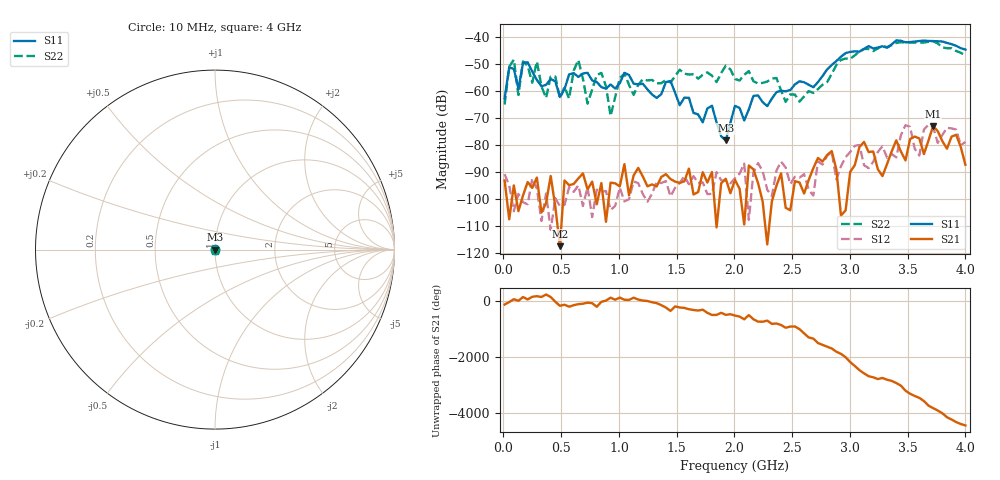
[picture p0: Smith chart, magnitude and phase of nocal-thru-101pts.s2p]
! PocketVna 1.81  pocketvna.com
! Live measurements ((Reflection-S11, Transmission-S21, Transmission-S12, Reflection-S22) Linear 10000000-4000000000/101 non-calibrated)
# GHz S MA R 50
! GHz  |S11|  <S11  |S21|  <S21  |S12|  <S12  |S22|  <S22
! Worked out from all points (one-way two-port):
!   101 points, 10 MHz to 4 GHz, reference 50 ohm
!   highest |S21| = -73.11 dB at 3.721 GHz (marker M1); lowest = -117.6 dB at 488.8 MHz (marker M2)
!   lowest |S11| = -78.5 dB at 1.925 GHz (marker M3), VSWR 1.00, Z = 50 + j0.0113 ohm
!   |S11| at or under -10 dB: start of sweep to end of sweep
!   |S22| runs from -69.4 to -41.8 dB; largest |S21 - S12| = 0.00026
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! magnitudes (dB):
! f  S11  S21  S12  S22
! 10 MHz  -62.9  -93.3  -91.0  -65.1
! 89.8 MHz  -52.0  -95.1  -104.7  -48.6
! 129.7 MHz  -59.4  -104.7  -98.3  -61.6
! 169.6 MHz  -49.7  -98.8  -101.4  -49.2
! 289.3 MHz  -56.1  -92.2  -96.3  -49.2
! 369.1 MHz  -57.9  -101.7  -98.1  -62.7
! 448.9 MHz  -56.5  -102.9  -99.9  -54.8
! 488.8 MHz  -62.4  -117.6  -102.8  -62.7
! 648.4 MHz  -54.9  -92.5  -95.1  -48.7
! 688.3 MHz  -53.7  -90.7  -102.7  -55.7
! 728.2 MHz  -53.4  -96.6  -95.8  -64.8
! 847.9 MHz  -58.7  -94.3  -97.5  -53.4
! 927.7 MHz  -57.8  -94.1  -104.2  -69.4
! 1.047 GHz  -53.4  -87.2  -101.1  -53.8
! 1.367 GHz  -61.4  -92.0  -94.3  -57.3
! 1.806 GHz  -65.6  -90.2  -98.3  -54.5
! 1.925 GHz  -78.5  -92.7  -93.4  -50.8
! 2.005 GHz  -65.7  -93.1  -92.5  -55.7
! 2.683 GHz  -58.8  -88.7  -98.9  -60.9
! 3.362 GHz  -42.9  -82.5  -83.5  -43.2
! 3.721 GHz  -41.7  -73.1  -73.5  -41.8
! 4 GHz  -44.8  -87.5  -79.0  -46.9
